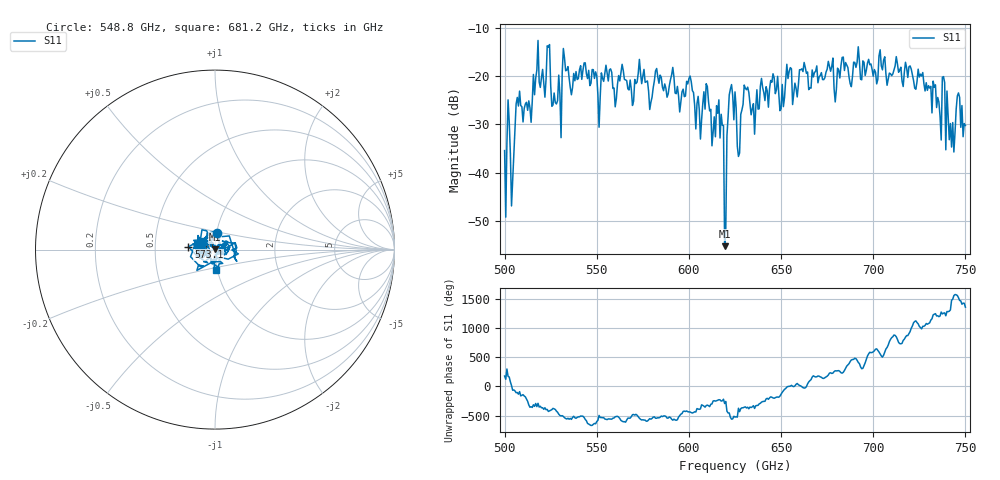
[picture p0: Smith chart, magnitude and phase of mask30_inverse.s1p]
!Created with skrf (http://scikit-rf.org).
# GHz S MA R 50.0
!freq magS11 angS11
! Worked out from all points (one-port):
!   401 points, 500 GHz to 750 GHz, reference 50 ohm
!   lowest |S11| = -55.3 dB at 619.4 GHz (marker M1), VSWR 1.00, Z = 50.1 + j0.158 ohm
!   |S11| at or under -10 dB: start of sweep to end of sweep
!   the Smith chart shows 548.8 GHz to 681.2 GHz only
!   S11 on the Smith chart (normalised r, x): 548.8 GHz: 1.00, +0.19; 573.1 GHz: 0.74, +0.02; 681.2 GHz: 0.98, -0.23
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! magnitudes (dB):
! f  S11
! 500 GHz  -35.5
! 504.4 GHz  -41.7
! 507.5 GHz  -26.2
! 513.8 GHz  -26.6
! 516.9 GHz  -20.4
! 523.8 GHz  -14.0
! 526.9 GHz  -23.5
! 531.2 GHz  -19.3
! 548.8 GHz  -20.5
! 562.5 GHz  -21.0
! 573.1 GHz  -16.6
! 593.8 GHz  -22.2
! 616.2 GHz  -24.9
! 619.4 GHz  -55.3
! 620.6 GHz  -32.4
! 622.5 GHz  -22.7
! 625 GHz  -23.3
! 627.5 GHz  -35.9
! 631.2 GHz  -22.8
! 635 GHz  -25.7
! 656.2 GHz  -25.9
! 681.2 GHz  -18.8
! 687.5 GHz  -21.6
! 718.8 GHz  -20.3
! 738.8 GHz  -21.4
! 742.5 GHz  -34.7
! 746.2 GHz  -23.5
! 750 GHz  -30.2
